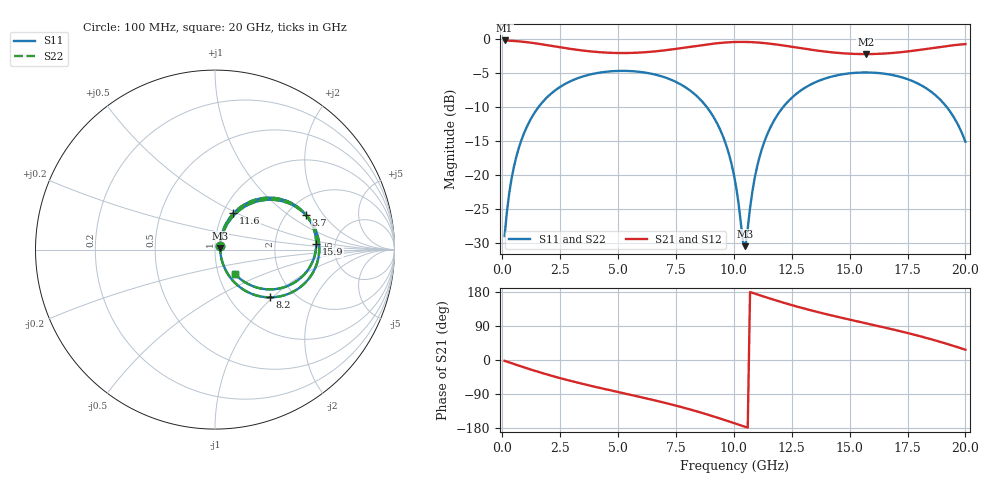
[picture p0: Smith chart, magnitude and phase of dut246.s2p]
! Touchstone file exported from HFSS 2026.1.0
!  File:  C:/ffzhzh/LocalFiles/Ansys_Project_Files/temp_train_TSV_RDL_246_1783066939_46780.aedt
!  Generated:  04:46:55 PM Jul  3, 2026
!  Design:  TSV_RDL
!  Project:  temp_train_TSV_RDL_246_1783066939_46780
! Variables:
!  h_bsmrdl = 5.65um
!  h_ox = 20um
!  h_rdl = 5um
!  h_sub = 76.06um
!  h_tmrdl = 4.14um
!  h_tsv = 76.06um
!  h_via = 3um
!  l_bsmrdl = 764.78um
!  l_sub = 5727.6um
!  l_tmrdl = 723.38um
!  m_sub = 200um
!  pitch = 54.99um
!  r_tsv = 2.67um
!  s_tmrdl = 10um
!  w_bsmrdl = 27.83um
!  w_sub = 500um
!  w_tmrdl = 18.75um
!  x_tsv_center1 = 732.755um
!  x_tsv_center2 = 1525.365um
!  x_tsv_center3 = 2267.495um
!  x_tsv_center4 = 3060.105um
!  x_tsv_center5 = 3802.235um
!  x_tsv_center6 = 4594.845um
# GHz S MA R 50.000000
! Terminal data exported
! Port[1] = TM_RDL1_1_T1
! Port[2] = TM_RDL5_1_T1
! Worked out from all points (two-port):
!   200 points, 100 MHz to 20 GHz, reference 50 ohm
!   highest |S21| = -0.24 dB at 100 MHz (marker M1); lowest = -2.2 dB at 15.7 GHz (marker M2)
!   |S21| within 3 dB of the highest: start of sweep to end of sweep
!   lowest |S11| = -30.5 dB at 10.5 GHz (marker M3), VSWR 1.06, Z = 52.9 + j0.878 ohm
!   |S11| at or under -10 dB: start of sweep to 1.575 GHz; 8.822 GHz to 12.14 GHz (3.319 GHz wide, 31.7 % of centre); 19.18 GHz to end of sweep
!   |S22| runs from -30.6 to -4.7 dB; largest |S21 - S12| = 1.6e-14
!   S11 on the Smith chart (normalised r, x): 100 MHz: 1.06, +0.05; 3.7 GHz: 2.51, +1.37; 8.2 GHz: 1.51, -0.96; 11.6 GHz: 1.12, +0.48; 15.9 GHz: 3.56, +0.34; 20 GHz: 1.20, -0.33
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0.1  0.03541 39.0  0.9731 -2.2  0.9731 -2.2  0.03541 39.0
! Gamma 0 0 0 0
! Port Impedance 50 0 50 0
0.3  0.0732 60.9  0.9694 -6.4  0.9694 -6.4  0.0732 60.9
0.5  0.114 64.7  0.9649 -10.5  0.9649 -10.5  0.114 64.7
1.1  0.2328 60.1  0.9431 -22.6  0.9431 -22.6  0.2328 60.1
2.1  0.3943 44.6  0.8893 -41.1  0.8893 -41.1  0.3943 44.6
3.5  0.5299 23.7  0.8192 -63.5  0.8192 -63.5  0.5299 23.7
3.7  0.5417 20.9  0.8119 -66.4  0.8119 -66.4  0.5417 20.9
5.3  0.581 -0.3  0.7861 -88.6  0.7861 -88.6  0.581 -0.3
6.8  0.5347 -20.4  0.8153 -109.7  0.8153 -109.7  0.5347 -20.4
8.2  0.4056 -41.0  0.8782 -132.0  0.8782 -132.0  0.4056 -41.0
9.4  0.2163 -59.0  0.9326 -154.3  0.9326 -154.3  0.2163 -59.1
10.1  0.08103 -59.5  0.9484 -168.4  0.9484 -168.4  0.08095 -59.6
10.4  0.03183 -21.2  0.9494 -174.5  0.9494 -174.5  0.03164 -21.4
10.5  0.02981 16.1  0.9489 -176.6  0.9489 -176.6  0.0296 16.2
11  0.1138 67.1  0.9406 173.3  0.9406 173.3  0.1138 67.3
11.6  0.2266 63.0  0.9194 161.4  0.9194 161.4  0.2266 63.1
13.4  0.4688 36.5  0.8287 130.0  0.8287 130.0  0.4687 36.5
15.7  0.5658 5.8  0.7721 96.9  0.7721 96.9  0.5658 5.8
15.9  0.565 3.3  0.7726 94.2  0.7726 94.2  0.565 3.3
16.7  0.5476 -7.1  0.7834 83.0  0.7834 83.0  0.5475 -7.1
18.7  0.3858 -35.0  0.8611 51.7  0.8611 51.7  0.3857 -35.1
20  0.1749 -50.8  0.9151 27.2  0.9151 27.2  0.1749 -50.8
